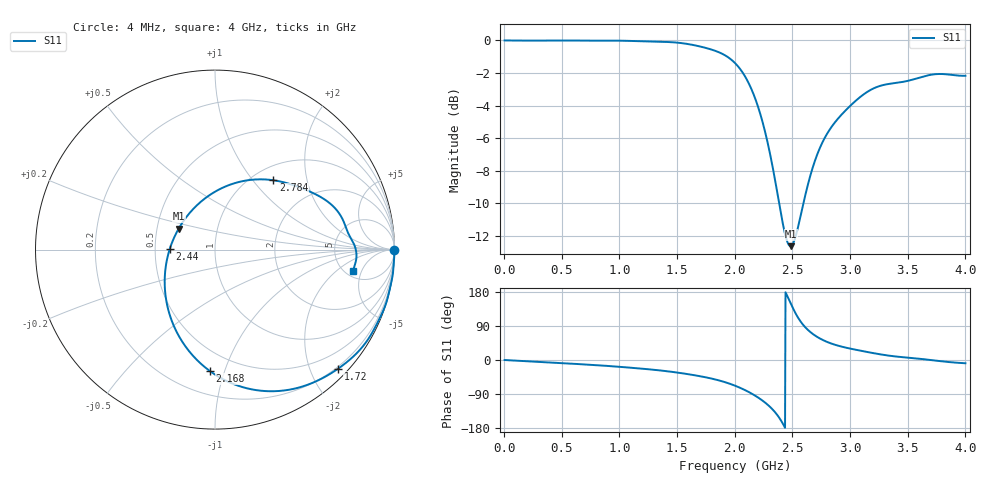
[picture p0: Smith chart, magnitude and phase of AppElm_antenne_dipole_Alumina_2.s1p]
! TOUCHSTONE file generated by CST MICROWAVE STUDIO
! Date and time: Sat May 14 10:20:39 2022
! Project name: AppElm_antenne_dipole_Alumina.cst
! Parameters = {L=33; e=0.035; f=2.45e+09; h=1.6; i=0.8; l1=1.6; lambda=122.449; ls=30; wl=1.7; ws=80}
! Header version: 2018
! Port assignment regex: !\s*Touchstone port\s*([0-9]+)\s*=\s*(CST MWS port|CST DS port)\s*([0-9]+|Zmin|Zmax)\s*\(\"(.*)\"\)(\s*mode\s*([0-9]+))?.*
! Touchstone port assignment:
! Touchstone port 1 = CST MWS port 1 ("")
# GHz S MA R 50
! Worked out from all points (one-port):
!   1000 points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, 4 MHz to 4 GHz, reference 50 ohm
!   lowest |S11| = -12.6 dB at 2.484 GHz (marker M1), VSWR 1.61, Z = 32.4 + j7.99 ohm
!   |S11| at or under -10 dB: 2.385 GHz to 2.595 GHz (210.1 MHz wide, 8.44 % of centre)
!   S11 on the Smith chart (normalised r, x): 4 MHz: open; 1.72 GHz: 0.17, -2.47; 2.168 GHz: 0.36, -0.89; 2.44 GHz: 0.60, +0.01; 2.784 GHz: 1.23, +1.28; 4 GHz: 5.92, -3.51
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0.004  1 -0.1
0.504  1 -8.2
1.004  0.9985 -18.1
1.312  0.9915 -26.2
1.504  0.9845 -33.3
1.72  0.9544 -44.0
1.872  0.9168 -54.6
2.004  0.8511 -68.0
2.088  0.7768 -79.3
2.168  0.6766 -92.5
2.244  0.5569 -107.9
2.312  0.4379 -125.5
2.376  0.3298 -148.2
2.44  0.2514 178.7
2.484  0.2337 150.1
2.504  0.2376 137.1
2.568  0.2865 102.7
2.632  0.3585 80.1
2.7  0.4321 63.8
2.784  0.5052 49.9
2.88  0.5671 39.2
3.004  0.6314 29.9
3.128  0.6874 22.3
3.232  0.7197 16.5
3.504  0.7522 6.1
3.74  0.788 -1.5
3.872  0.7849 -5.8
4  0.779 -8.6
